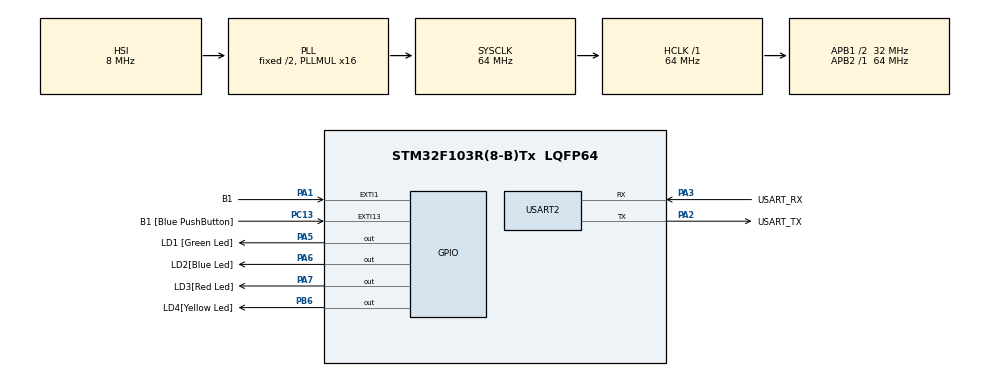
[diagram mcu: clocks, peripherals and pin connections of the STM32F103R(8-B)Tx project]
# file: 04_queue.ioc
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FREERTOS.Tasks01=defaultTask,24,128,StartDefaultTask,Default,NULL,Dynamic,NULL,NULL
FREERTOS.configUSE_NEWLIB_REENTRANT=1
Mcu.Family=STM32F1
Mcu.Name=STM32F103R(8-B)Tx
Mcu.Package=LQFP64
NVIC.EXTI15_10_IRQn=true\:5\:0\:false\:false\:true\:true\:true\:true\:true
NVIC.PriorityGroup=NVIC_PRIORITYGROUP_4
NVIC.TIM1_UP_IRQn=true\:15\:0\:false\:false\:true\:false\:false\:true\:true
NVIC.TimeBase=TIM1_UP_IRQn
NVIC.TimeBaseIP=TIM1
PA1.GPIO_Label=B1
PA1.Signal=GPXTI1
PA13.GPIO_Label=TMS
PA13.Mode=JTAG_4_pins
PA13.Signal=SYS_JTMS-SWDIO
PA14.GPIO_Label=TCK
PA14.Mode=JTAG_4_pins
PA14.Signal=SYS_JTCK-SWCLK
PA15.Mode=JTAG_4_pins
PA15.Signal=SYS_JTDI
PA2.GPIO_Label=USART_TX
PA2.GPIO_Mode=GPIO_MODE_AF_PP
PA2.GPIO_PuPd=GPIO_NOPULL
PA2.GPIO_Speed=GPIO_SPEED_FREQ_LOW
PA2.Mode=Asynchronous
PA2.Signal=USART2_TX
PA3.GPIO_Label=USART_RX
PA3.GPIO_Mode=GPIO_MODE_AF_PP
PA3.GPIO_PuPd=GPIO_NOPULL
PA3.GPIO_Speed=GPIO_SPEED_FREQ_LOW
PA3.Mode=Asynchronous
PA3.Signal=USART2_RX
PA5.GPIO_Label=LD1 [Green Led]
PA5.GPIO_ModeDefaultOutputPP=GPIO_MODE_OUTPUT_PP
PA5.GPIO_PuPd=GPIO_NOPULL
PA5.GPIO_Speed=GPIO_SPEED_FREQ_LOW
PA5.Signal=GPIO_Output
PA6.GPIO_Label=LD2[Blue Led]
PA6.Signal=GPIO_Output
PA7.GPIO_Label=LD3[Red Led]
PA7.Signal=GPIO_Output
PB3.Mode=JTAG_4_pins
PB3.Signal=SYS_JTDO-TRACESWO
PB6.GPIO_Label=LD4[Yellow Led]
PB6.Signal=GPIO_Output
PC13-TAMPER-RTC.GPIO_Label=B1 [Blue PushButton]
PC13-TAMPER-RTC.GPIO_PuPd=GPIO_NOPULL
PC13-TAMPER-RTC.Signal=GPXTI13
PC14-OSC32_IN.Mode=LSE-External-Oscillator
PC14-OSC32_IN.Signal=RCC_OSC32_IN
PC15-OSC32_OUT.Mode=LSE-External-Oscillator
PC15-OSC32_OUT.Signal=RCC_OSC32_OUT
PD0-OSC_IN.Mode=HSE-External-Clock-Source
PD0-OSC_IN.Signal=RCC_OSC_IN
PD1-OSC_OUT.Mode=HSE-External-Clock-Source
PD1-OSC_OUT.Signal=RCC_OSC_OUT
ProjectManager.HeapSize=0x200
ProjectManager.StackSize=0x400
ProjectManager.TargetToolchain=STM32CubeIDE
RCC.AHBFreq_Value=64000000
RCC.APB1CLKDivider=RCC_HCLK_DIV2
RCC.APB1Freq_Value=32000000
RCC.APB1TimFreq_Value=64000000
RCC.APB2Freq_Value=64000000
RCC.APB2TimFreq_Value=64000000
RCC.HCLKFreq_Value=64000000
RCC.PLLMUL=RCC_PLL_MUL16
RCC.RTCClockSelection=RCC_RTCCLKSOURCE_LSE
RCC.SYSCLKFreq_VALUE=64000000
RCC.SYSCLKSource=RCC_SYSCLKSOURCE_PLLCLK
RCC.USBFreq_Value=64000000
USART2.VirtualMode=VM_ASYNC
VP_FREERTOS_VS_CMSIS_V2.Mode=CMSIS_V2
VP_SYS_VS_tim1.Mode=TIM1
board=NUCLEO-F103RB

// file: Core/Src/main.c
/* USER CODE BEGIN Header */
/**
  ******************************************************************************
  * @file           : main.c
  * @brief          : Main program body
  ******************************************************************************
  * @attention
  *
  * Copyright (c) 2023 STMicroelectronics.
  * All rights reserved.
  *
  * This software is licensed under terms that can be found in the LICENSE file
  * in the root directory of this software component.
  * If no LICENSE file comes with this software, it is provided AS-IS.
  *
  ******************************************************************************
  */
/* USER CODE END Header */
#include "main.h"
#include "cmsis_os.h"
#include "usart.h"
#include "gpio.h"

void SystemClock_Config(void);
void MX_FREERTOS_Init(void);

/* USER CODE BEGIN 0 */

void print_startup_msg(void)
{
	log_message(LOG_LEVEL_INFO,"************************************\r\n");
	log_message(LOG_LEVEL_INFO,"***** %s - %s ****/\r\n", __DATE__, __TIME__);
	log_message(LOG_LEVEL_INFO,"***** Author : Bayron Cabrera ******\r\n");
	log_message(LOG_LEVEL_INFO,"************************************\r\n");
}

int uart_write(char *ptr, int len)
{
  HAL_UART_Transmit(&huart2, (uint8_t*)ptr, len, HAL_MAX_DELAY);
  return len;
}

/* USER CODE END 0 */

int main(void)
{

  /* MCU Configuration--------------------------------------------------------*/

  /* Reset of all peripherals, Initializes the Flash interface and the Systick. */
  HAL_Init();

  /* Configure the system clock */
  SystemClock_Config();

  /* Initialize all configured peripherals */
  MX_GPIO_Init();
  MX_USART2_UART_Init();
  /* USER CODE BEGIN 2 */
  rtt_init();
  log_init(LOG_LEVEL_TRACE, &rtt_write);
  // log_init(LOG_LEVEL_TRACE, &itm_write_ch0);
  // log_init(LOG_LEVEL_TRACE, &uart_write);
  print_startup_msg();
  log_demo();
  /* USER CODE END 2 */

  /* Init scheduler */
  osKernelInitialize();  /* Call init function for freertos objects (in freertos.c) */
  MX_FREERTOS_Init();

  /* Start scheduler */
  osKernelStart();

  /* We should never get here as control is now taken by the scheduler */
  /* Infinite loop */
  while (1)
  {

  }
}

void SystemClock_Config(void)
{
  RCC_OscInitTypeDef RCC_OscInitStruct = {0};
  RCC_ClkInitTypeDef RCC_ClkInitStruct = {0};

  /** Initializes the RCC Oscillators according to the specified parameters
  * in the RCC_OscInitTypeDef structure.
  */
  RCC_OscInitStruct.OscillatorType = RCC_OSCILLATORTYPE_HSI;
  RCC_OscInitStruct.HSIState = RCC_HSI_ON;
  RCC_OscInitStruct.HSICalibrationValue = RCC_HSICALIBRATION_DEFAULT;
  RCC_OscInitStruct.PLL.PLLState = RCC_PLL_ON;
  RCC_OscInitStruct.PLL.PLLSource = RCC_PLLSOURCE_HSI_DIV2;
  RCC_OscInitStruct.PLL.PLLMUL = RCC_PLL_MUL16;
  if (HAL_RCC_OscConfig(&RCC_OscInitStruct) != HAL_OK)
  {
    Error_Handler();
  }

  /** Initializes the CPU, AHB and APB buses clocks
  */
  RCC_ClkInitStruct.ClockType = RCC_CLOCKTYPE_HCLK|RCC_CLOCKTYPE_SYSCLK
                              |RCC_CLOCKTYPE_PCLK1|RCC_CLOCKTYPE_PCLK2;
  RCC_ClkInitStruct.SYSCLKSource = RCC_SYSCLKSOURCE_PLLCLK;
  RCC_ClkInitStruct.AHBCLKDivider = RCC_SYSCLK_DIV1;
  RCC_ClkInitStruct.APB1CLKDivider = RCC_HCLK_DIV2;
  RCC_ClkInitStruct.APB2CLKDivider = RCC_HCLK_DIV1;

  if (HAL_RCC_ClockConfig(&RCC_ClkInitStruct, FLASH_LATENCY_2) != HAL_OK)
  {
    Error_Handler();
  }
}

void HAL_TIM_PeriodElapsedCallback(TIM_HandleTypeDef *htim)
{
  if (htim->Instance == TIM1) {
    HAL_IncTick();
  }
}

void Error_Handler(void)
{
  __disable_irq();
  while (1)
  {
  }
}

#ifdef  USE_FULL_ASSERT
/**
  * @brief  Reports the name of the source file and the source line number
  *         where the assert_param error has occurred.
  * @param  file: pointer to the source file name
  * @param  line: assert_param error line source number
  * @retval None
  */
void assert_failed(uint8_t *file, uint32_t line)
{
  /* USER CODE BEGIN 6 */
  /* User can add his own implementation to report the file name and line number,
     ex: printf("Wrong parameters value: file %s on line %d\r\n", file, line) */
  log_message_tag(LOG_LEVEL_ERROR, "ASSERT", "Wrong parameters value: file %s on line %ld\r\n", file, line);
  /* USER CODE END 6 */
}
#endif /* USE_FULL_ASSERT */

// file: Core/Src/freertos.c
/* USER CODE BEGIN Header */
/**
  ******************************************************************************
  * File Name          : freertos.c
  * Description        : Code for freertos applications
  ******************************************************************************
  * @attention
  *
  * Copyright (c) 2023 STMicroelectronics.
  * All rights reserved.
  *
  * This software is licensed under terms that can be found in the LICENSE file
  * in the root directory of this software component.
  * If no LICENSE file comes with this software, it is provided AS-IS.
  *
  ******************************************************************************
  */
/* USER CODE END Header */

#include "FreeRTOS.h"
#include "task.h"
#include "main.h"
#include "cmsis_os.h"

/* USER CODE BEGIN Includes */
#include "log.h"
/* USER CODE END Includes */

/* USER CODE BEGIN PD */
static int counter = 0;

/* USER CODE END PD */

/* Definitions for defaultTask */
osThreadId_t defaultTaskHandle;
const osThreadAttr_t defaultTask_attributes = {
  .name = "defaultTask",
  .stack_size = 128 * 4,
  .priority = (osPriority_t) osPriorityNormal,
};

/* USER CODE BEGIN FunctionPrototypes */
void blink_led_non_blocking(void)
{
    HAL_GPIO_TogglePin(LD2_GPIO_Port, LD2_Pin);
    counter++;
    SEGGER_SYSVIEW_PrintfHost("Led2 Toggle! -> [%d]\r\n", counter);
    log_message(LOG_LEVEL_INFO, "Led2 Toggle! -> [%d]\r\n", counter);
    osDelay(1000);
}

/* USER CODE END FunctionPrototypes */

void StartDefaultTask(void *argument);

void MX_FREERTOS_Init(void); /* (MISRA C 2004 rule 8.1) */

void MX_FREERTOS_Init(void) {
  /* USER CODE BEGIN Init */
	SEGGER_SYSVIEW_Conf();
  /* USER CODE END Init */

  /* Create the thread(s) */
  /* creation of defaultTask */
  defaultTaskHandle = osThreadNew(StartDefaultTask, NULL, &defaultTask_attributes);

}

void StartDefaultTask(void *argument)
{
  /* USER CODE BEGIN StartDefaultTask */
  /* Infinite loop */
  for(;;)
  {
	blink_led_non_blocking();
  }
  /* USER CODE END StartDefaultTask */
}
